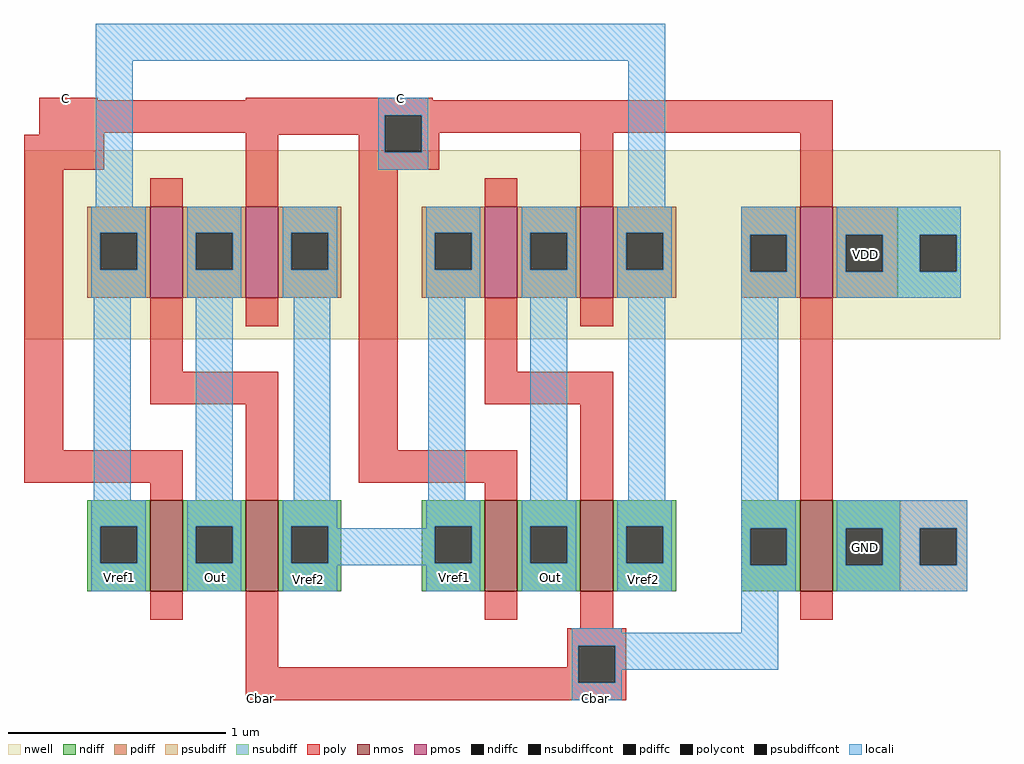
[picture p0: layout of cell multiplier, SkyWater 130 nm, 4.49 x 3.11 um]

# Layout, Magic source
magic
tech sky130A
<< nwell >>
rect -213 95 236 182
<< nmos >>
rect -155 -21 -140 21
rect -111 -21 -96 21
rect -1 -21 14 21
rect 43 -21 58 21
rect 144 -21 159 21
<< pmos >>
rect -155 114 -140 156
rect -111 114 -96 156
rect -1 114 14 156
rect 43 114 58 156
rect 144 114 159 156
<< ndiff >>
rect -184 9 -155 21
rect -184 -8 -178 9
rect -161 -8 -155 9
rect -184 -21 -155 -8
rect -140 9 -111 21
rect -140 -8 -134 9
rect -117 -8 -111 9
rect -140 -21 -111 -8
rect -96 9 -67 21
rect -96 -8 -90 9
rect -73 -8 -67 9
rect -96 -21 -67 -8
rect -30 9 -1 21
rect -30 -8 -24 9
rect -7 -8 -1 9
rect -30 -21 -1 -8
rect 14 9 43 21
rect 14 -8 20 9
rect 37 -8 43 9
rect 14 -21 43 -8
rect 58 9 87 21
rect 58 -8 64 9
rect 81 -8 87 9
rect 58 -21 87 -8
rect 117 8 144 21
rect 117 -9 121 8
rect 138 -9 144 8
rect 117 -21 144 -9
rect 159 8 190 21
rect 159 -9 165 8
rect 182 -9 190 8
rect 159 -21 190 -9
<< pdiff >>
rect -184 144 -155 156
rect -184 127 -178 144
rect -161 127 -155 144
rect -184 114 -155 127
rect -140 144 -111 156
rect -140 127 -134 144
rect -117 127 -111 144
rect -140 114 -111 127
rect -96 144 -67 156
rect -96 127 -90 144
rect -73 127 -67 144
rect -96 114 -67 127
rect -30 144 -1 156
rect -30 127 -24 144
rect -7 127 -1 144
rect -30 114 -1 127
rect 14 144 43 156
rect 14 127 20 144
rect 37 127 43 144
rect 14 114 43 127
rect 58 144 87 156
rect 58 127 64 144
rect 81 127 87 144
rect 58 114 87 127
rect 117 143 144 156
rect 117 126 121 143
rect 138 126 144 143
rect 117 114 144 126
rect 159 143 189 156
rect 159 126 165 143
rect 182 126 189 143
rect 159 114 189 126
<< ndiffc >>
rect -178 -8 -161 9
rect -134 -8 -117 9
rect -90 -8 -73 9
rect -24 -8 -7 9
rect 20 -8 37 9
rect 64 -8 81 9
rect 121 -9 138 8
rect 165 -9 182 8
<< pdiffc >>
rect -178 127 -161 144
rect -134 127 -117 144
rect -90 127 -73 144
rect -24 127 -7 144
rect 20 127 37 144
rect 64 127 81 144
rect 121 126 138 143
rect 165 126 182 143
<< psubdiff >>
rect 190 8 221 21
rect 190 -9 199 8
rect 216 -9 221 8
rect 190 -21 221 -9
<< nsubdiff >>
rect 189 143 218 156
rect 189 126 199 143
rect 216 126 218 143
rect 189 114 218 126
<< psubdiffcont >>
rect 199 -9 216 8
<< nsubdiffcont >>
rect 199 126 216 143
<< poly >>
rect -206 205 -179 206
rect -111 205 -25 206
rect -206 198 159 205
rect -206 190 -47 198
rect -206 189 -176 190
rect -213 173 -176 189
rect -111 189 -47 190
rect -213 44 -195 173
rect -155 156 -140 169
rect -111 156 -96 189
rect -59 181 -47 189
rect -30 190 159 198
rect -30 181 -22 190
rect -59 173 -22 181
rect -155 80 -140 114
rect -111 101 -96 114
rect -155 65 -96 80
rect -213 29 -140 44
rect -155 21 -140 29
rect -111 21 -96 65
rect -59 44 -41 173
rect -1 156 14 169
rect 43 156 58 190
rect 144 156 159 190
rect -1 80 14 114
rect 43 101 58 114
rect -1 65 58 80
rect -59 29 14 44
rect -1 21 14 29
rect 43 21 58 65
rect 144 21 159 114
rect -155 -34 -140 -21
rect -111 -56 -96 -21
rect -1 -34 14 -21
rect 43 -38 58 -21
rect 144 -34 159 -21
rect 37 -46 64 -38
rect 37 -56 42 -46
rect -111 -63 42 -56
rect 59 -63 64 -46
rect -111 -71 64 -63
<< polycont >>
rect -47 181 -30 198
rect 42 -63 59 -46
<< locali >>
rect -180 223 82 240
rect -180 156 -163 223
rect -50 198 -27 206
rect -50 181 -47 198
rect -30 181 -27 198
rect -50 173 -27 181
rect 65 156 82 223
rect -182 144 -157 156
rect -182 127 -178 144
rect -161 127 -157 144
rect -182 114 -157 127
rect -138 144 -113 156
rect -138 127 -134 144
rect -117 127 -113 144
rect -138 114 -113 127
rect -94 144 -69 156
rect -94 127 -90 144
rect -73 127 -69 144
rect -94 114 -69 127
rect -28 144 -3 156
rect -28 127 -24 144
rect -7 127 -3 144
rect -28 114 -3 127
rect 16 144 41 156
rect 16 127 20 144
rect 37 127 41 144
rect 16 114 41 127
rect 60 144 85 156
rect 60 127 64 144
rect 81 127 85 144
rect 60 114 85 127
rect 117 143 142 156
rect 117 126 121 143
rect 138 126 142 143
rect 117 114 142 126
rect 161 143 218 156
rect 161 126 165 143
rect 182 126 199 143
rect 216 126 218 143
rect 161 114 218 126
rect -181 21 -164 114
rect -134 21 -117 114
rect -89 21 -72 114
rect -27 21 -10 114
rect 20 21 37 114
rect 65 21 82 114
rect 117 21 134 114
rect -182 9 -157 21
rect -182 -8 -178 9
rect -161 -8 -157 9
rect -182 -21 -157 -8
rect -138 9 -113 21
rect -138 -8 -134 9
rect -117 -8 -113 9
rect -138 -21 -113 -8
rect -94 9 -69 21
rect -94 -8 -90 9
rect -73 8 -69 9
rect -28 9 -3 21
rect -28 8 -24 9
rect -73 -8 -24 8
rect -7 -8 -3 9
rect -94 -9 -3 -8
rect -94 -21 -69 -9
rect -28 -21 -3 -9
rect 16 9 41 21
rect 16 -8 20 9
rect 37 -8 41 9
rect 16 -21 41 -8
rect 60 9 85 21
rect 60 -8 64 9
rect 81 -8 85 9
rect 60 -21 85 -8
rect 117 8 142 21
rect 117 -9 121 8
rect 138 -9 142 8
rect 117 -21 142 -9
rect 161 8 221 21
rect 161 -9 165 8
rect 182 -9 199 8
rect 216 -9 221 8
rect 161 -21 221 -9
rect 39 -40 62 -38
rect 117 -40 134 -21
rect 39 -46 134 -40
rect 39 -63 42 -46
rect 59 -57 134 -46
rect 59 -63 62 -57
rect 39 -71 62 -63
<< labels >>
flabel locali -26 -20 -4 -9 0 FreeSans 80 0 0 0 Vref1
flabel locali 61 -21 83 -10 0 FreeSans 80 0 0 0 Vref2
flabel locali 18 -20 40 -9 0 FreeSans 80 0 0 0 Out
flabel space -51 200 -29 211 0 FreeSans 80 0 0 0 C
flabel space 39 -76 61 -65 0 FreeSans 80 0 0 0 Cbar
flabel locali -180 -20 -158 -9 0 FreeSans 80 0 0 0 Vref1
flabel locali -93 -21 -71 -10 0 FreeSans 80 0 0 0 Vref2
flabel locali -136 -20 -114 -9 0 FreeSans 80 0 0 0 Out
flabel space -205 200 -183 211 0 FreeSans 80 0 0 0 C
flabel space -115 -76 -93 -65 0 FreeSans 80 0 0 0 Cbar
flabel nwell 165 125 183 143 0 FreeSans 40 0 0 0 VDD
flabel locali 165 -10 183 8 0 FreeSans 40 0 0 0 GND
<< end >>
